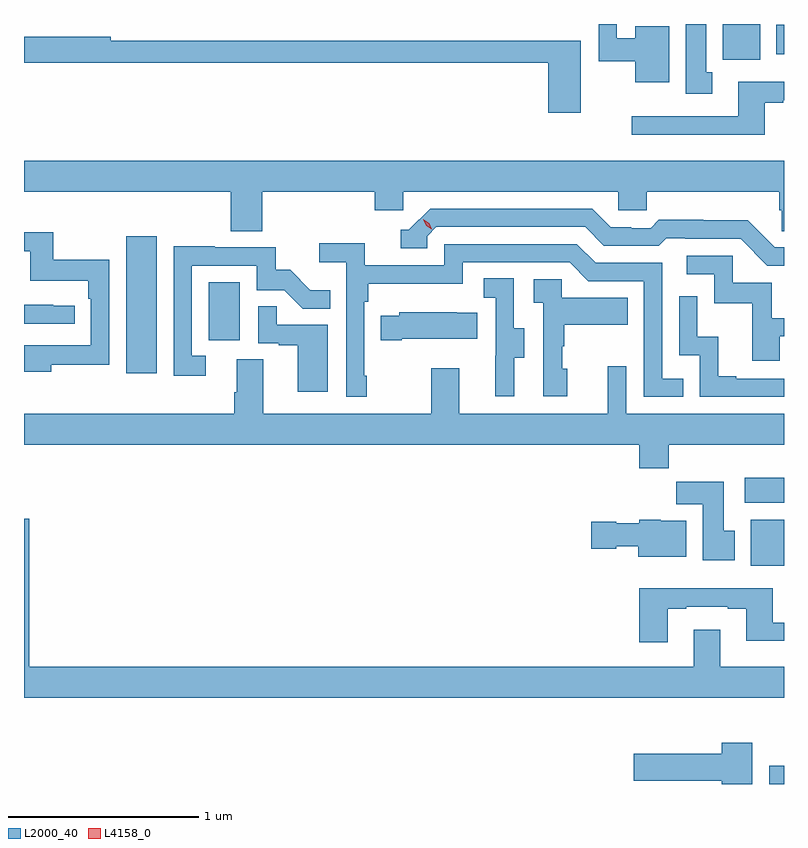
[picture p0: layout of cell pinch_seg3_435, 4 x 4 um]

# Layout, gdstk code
import gdstk
lib = gdstk.Library(unit=1e-6, precision=1e-09)
def R(c, l, rs):  # rectangles x0, y0, x1, y1
    for r in rs: c.add(gdstk.rectangle(r[:2], r[2:], *l))
def P(c, l, *ps):  # polygons
    for p in ps: c.add(gdstk.Polygon(p, *l))
L2000_40 = (2000, 40)
L4158_0 = (4158, 0)

pinch_seg3_435 = lib.new_cell('pinch_seg3_435')
R(pinch_seg3_435, L2000_40, [(930.174,673.823,930.252,673.918), (930.077,674.972,930.252,675.214), (930.045,675.302,930.252,675.436), (926.789,675.984,926.95,676.705), (927.224,676.158,927.388,676.465), (929.93,677.636,930.127,677.823), (930.212,677.664,930.252,677.82)])
P(pinch_seg3_435, L2000_40, [(929.647,677.812),(929.468,677.812),(929.468,677.749),(929.373,677.749),(929.373,677.823),(929.277,677.823),(929.277,677.628),(929.468,677.628),(929.468,677.516),(929.647,677.516)],
  [(929.875,677.57),(929.842,677.57),(929.842,677.823),(929.735,677.823),(929.735,677.457),(929.875,677.457)],
  [(929.182,677.736),(926.708,677.736),(926.708,677.756),(926.252,677.756),(926.252,677.62),(929.012,677.62),(929.012,677.355),(929.182,677.355)],
  [(930.151,677.409),(930.247,677.409),(930.247,677.421),(930.252,677.421),(930.252,677.518),(930.011,677.518),(930.011,677.337),(929.451,677.337),(929.451,677.24),(930.151,677.24)],
  [(927.506,676.94),(928.097,676.94),(928.097,676.842),(928.248,676.842),(928.248,676.94),(929.379,676.94),(929.379,676.842),(929.529,676.842),(929.529,676.94),(930.227,676.94),(930.227,676.842),(930.241,676.842),(930.241,676.732),(930.252,676.732),(930.252,677.104),(926.252,677.104),(926.252,676.94),(927.341,676.94),(927.341,676.732),(927.506,676.732)],
  [(930.252,676.647),(930.204,676.647),(930.062,676.789),(929.826,676.789),(929.826,676.792),(929.593,676.792),(929.551,676.749),(929.448,676.749),(929.448,676.752),(929.341,676.752),(929.242,676.851),(928.389,676.851),(928.278,676.74),(928.235,676.74),(928.235,676.644),(928.374,676.644),(928.374,676.707),(928.422,676.755),(929.205,676.755),(929.304,676.656),(929.593,676.656),(929.632,676.695),(929.731,676.695),(929.731,676.692),(930.024,676.692),(930.165,676.551),(930.252,676.551)],
  [(926.395,676.03),(926.7,676.03),(926.7,676.582),(926.407,676.582),(926.407,676.728),(926.252,676.728),(926.252,676.627),(926.286,676.627),(926.286,676.472),(926.591,676.472),(926.591,676.376),(926.604,676.376),(926.604,676.131),(926.291,676.131),(926.291,676.132),(926.252,676.132),(926.252,675.992),(926.395,675.992)],
  [(928.057,675.973),(928.044,675.973),(928.044,676.361),(928.064,676.361),(928.064,676.457),(928.56,676.457),(928.56,676.569),(929.124,676.569),(929.223,676.47),(929.514,676.47),(929.514,675.861),(929.723,675.861),(929.723,675.957),(929.61,675.957),(929.61,676.566),(929.26,676.566),(929.161,676.665),(928.464,676.665),(928.464,676.554),(928.046,676.554),(928.046,676.67),(927.807,676.67),(927.807,676.568),(927.948,676.568),(927.948,675.861),(928.057,675.861)],
  [(927.208,676.077),(927.135,676.077),(927.135,676.551),(927.477,676.551),(927.477,676.422),(927.621,676.422),(927.719,676.324),(927.863,676.324),(927.863,676.423),(927.759,676.423),(927.652,676.53),(927.576,676.53),(927.576,676.647),(927.257,676.647),(927.257,676.652),(927.039,676.652),(927.039,675.972),(927.208,675.972)],
  [(930.229,676.179),(930.252,676.179),(930.252,676.275),(930.187,676.275),(930.187,676.461),(929.982,676.461),(929.982,676.602),(929.739,676.602),(929.739,676.506),(929.886,676.506),(929.886,676.353),(930.085,676.353),(930.085,676.05),(930.229,676.05)],
  [(928.831,676.066),(928.885,676.066),(928.885,676.221),(928.83,676.221),(928.83,676.484),(928.671,676.484),(928.671,676.381),(928.734,676.381),(928.734,676.077),(928.733,676.077),(928.733,675.864),(928.831,675.864)],
  [(929.11,676.008),(929.085,676.008),(929.085,676.127),(929.095,676.127),(929.095,676.241),(929.429,676.241),(929.429,676.381),(929.082,676.381),(929.082,676.479),(928.935,676.479),(928.935,676.355),(928.986,676.355),(928.986,675.864),(929.11,675.864)],
  [(930.252,675.957),(930.001,675.957),(930.001,675.97),(929.906,675.97),(929.906,676.178),(929.796,676.178),(929.796,676.39),(929.7,676.39),(929.7,676.08),(929.808,676.08),(929.808,675.861),(930.252,675.861)],
  [(926.518,676.341),(926.405,676.341),(926.405,676.346),(926.252,676.346),(926.252,676.245),(926.518,676.245)],
  [(927.85,676.239),(927.581,676.239),(927.581,676.337),(927.486,676.337),(927.486,676.143),(927.593,676.143),(927.593,676.131),(927.692,676.131),(927.692,675.888),(927.85,675.888)],
  [(928.24,676.166),(928.637,676.166),(928.637,676.303),(928.529,676.303),(928.529,676.306),(928.227,676.306),(928.227,676.288),(928.129,676.288),(928.129,676.159),(928.24,676.159)],
  [(929.645,675.608),(930.252,675.608),(930.252,675.772),(929.421,675.772),(929.421,676.021),(929.324,676.021),(929.324,675.772),(928.543,675.772),(928.543,676.012),(928.396,676.012),(928.396,675.772),(927.511,675.772),(927.511,676.058),(927.371,676.058),(927.371,675.884),(927.359,675.884),(927.359,675.772),(926.252,675.772),(926.252,675.608),(929.489,675.608),(929.489,675.484),(929.645,675.484)],
  [(929.992,675.156),(929.935,675.156),(929.935,675.415),(929.686,675.415),(929.686,675.296),(929.825,675.296),(929.825,675),(929.992,675)],
  [(930.252,674.44),(929.917,674.44),(929.917,674.635),(929.777,674.635),(929.777,674.44),(926.279,674.44),(926.279,675.22),(926.252,675.22),(926.252,674.276),(930.252,674.276)],
  [(929.737,675.208),(929.604,675.208),(929.604,675.214),(929.49,675.214),(929.49,675.196),(929.37,675.196),(929.37,675.204),(929.238,675.204),(929.238,675.062),(929.37,675.062),(929.37,675.074),(929.486,675.074),(929.486,675.02),(929.737,675.02)],
  [(929.641,674.745),(929.737,674.745),(929.737,674.757),(929.957,674.757),(929.957,674.745),(930.053,674.745),(930.053,674.576),(930.252,674.576),(930.252,674.673),(930.193,674.673),(930.193,674.854),(929.489,674.854),(929.489,674.568),(929.641,674.568)],
  [(930.085,674.041),(929.924,674.041),(929.924,673.983),(929.46,673.983),(929.46,673.841),(929.924,673.841),(929.924,673.823),(930.085,673.823)])
P(pinch_seg3_435, L4158_0, [(928.399,676.742),(928.369,676.762),(928.353,676.795),(928.353,676.795),(928.353,676.795),(928.384,676.775),(928.399,676.742),(928.399,676.742)])

lib.write_gds('pinch_seg3_435.gds')
